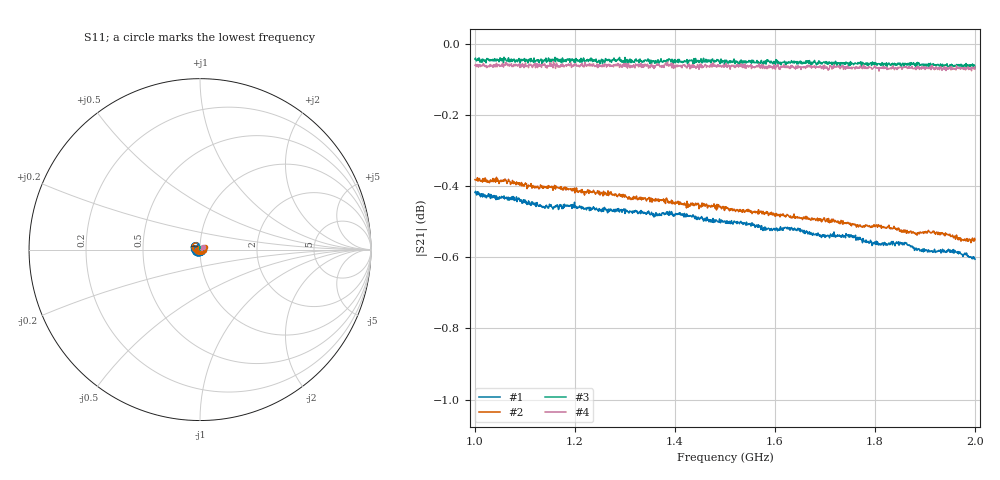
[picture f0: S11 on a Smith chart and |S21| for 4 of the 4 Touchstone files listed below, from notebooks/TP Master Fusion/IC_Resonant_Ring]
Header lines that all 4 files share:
#  HZ  S  DB  R  50.00
! Rohde & Schwarz Vector Network Analyzer
! Rohde-Schwarz,ZNB8-4Port,1311601044102961,2.82
! freq[Hz]  db:S11  ang:S11  db:S21  ang:S21  db:S12  ang:S12  db:S22  ang:S22
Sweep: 1 GHz to 2 GHz
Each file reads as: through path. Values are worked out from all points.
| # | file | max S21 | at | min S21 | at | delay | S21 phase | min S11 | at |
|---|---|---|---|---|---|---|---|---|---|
| 1 | cable_RG214_1.s2p | -0.41 dB | 1.001 GHz | -0.6 dB | 2 GHz | 5.17 ns | 87 deg at 1.5 GHz | -44.8 dB | 1.417 GHz |
| 2 | cable_RG214_2.s2p | -0.38 dB | 1.043 GHz | -0.6 dB | 1.992 GHz | 5.2 ns | 72 deg at 1.5 GHz | -58.7 dB | 1.594 GHz |
| 3 | I_FF.s2p | -0.04 dB | 1.058 GHz | -0.1 dB | 2 GHz | 97.5 ps | -53 deg at 1.5 GHz | -42.9 dB | 1.091 GHz |
| 4 | I_FF_2.s2p | -0.05 dB | 1.157 GHz | -0.1 dB | 1.808 GHz | 110 ps | -60 deg at 1.5 GHz | -43.4 dB | 1.982 GHz |
